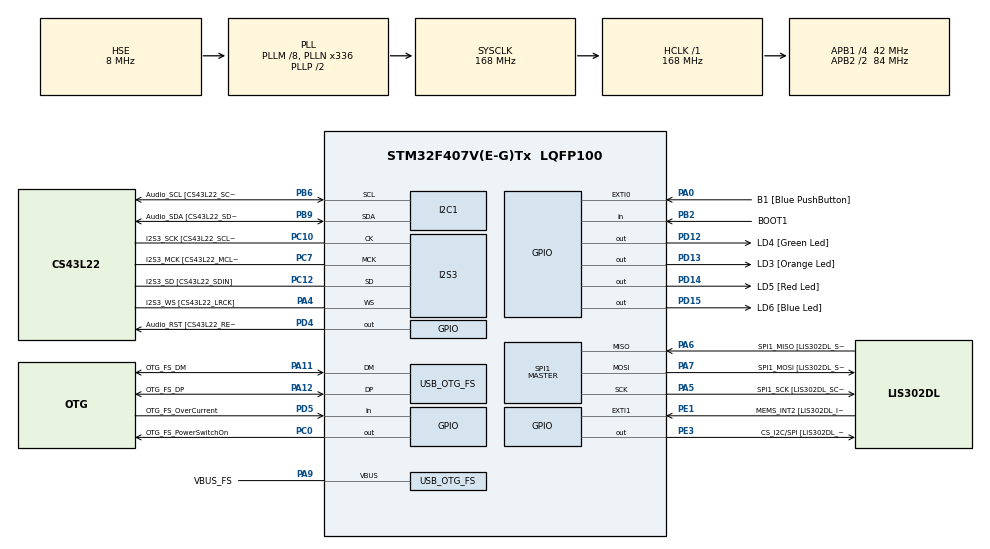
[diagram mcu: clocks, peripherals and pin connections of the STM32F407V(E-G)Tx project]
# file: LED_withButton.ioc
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I2S3.AudioFreq-Half_Duplex_Master=I2S_AUDIOFREQ_96K
I2S3.ErrorAudioFreq=-2.34 %
I2S3.ErrorAudioFreq-Half_Duplex_Master=0.8 %
I2S3.FullDuplexMode=I2S_FULLDUPLEXMODE_DISABLE
I2S3.Instance=SPI$Index
I2S3.RealAudioFreq=93.75 KHz
I2S3.RealAudioFreq-Half_Duplex_Master=96.774 KHz
I2S3.VirtualMode=I2S_MODE_MASTER
Mcu.Family=STM32F4
Mcu.Name=STM32F407V(E-G)Tx
Mcu.Package=LQFP100
NVIC.OTG_FS_IRQn=true\:0\:0\:false\:false\:true\:true\:true
NVIC.PriorityGroup=NVIC_PRIORITYGROUP_0
PA0-WKUP.GPIO_Label=B1 [Blue PushButton]
PA0-WKUP.GPIO_ModeDefaultEXTI=GPIO_MODE_EVT_RISING
PA0-WKUP.GPIO_PuPd=GPIO_NOPULL
PA0-WKUP.Signal=GPXTI0
PA10.GPIO_Label=OTG_FS_ID
PA10.GPIO_Mode=GPIO_MODE_AF_PP
PA10.GPIO_PuPd=GPIO_NOPULL
PA10.GPIO_Speed=GPIO_SPEED_FREQ_LOW
PA10.Signal=USB_OTG_FS_ID
PA11.GPIO_Label=OTG_FS_DM
PA11.GPIO_Mode=GPIO_MODE_AF_PP
PA11.GPIO_PuPd=GPIO_NOPULL
PA11.GPIO_Speed=GPIO_SPEED_FREQ_LOW
PA11.Mode=Host_Only
PA11.Signal=USB_OTG_FS_DM
PA12.GPIO_Label=OTG_FS_DP
PA12.GPIO_Mode=GPIO_MODE_AF_PP
PA12.GPIO_PuPd=GPIO_NOPULL
PA12.GPIO_Speed=GPIO_SPEED_FREQ_LOW
PA12.Mode=Host_Only
PA12.Signal=USB_OTG_FS_DP
PA13.GPIO_Label=SWDIO
PA13.Mode=Serial_Wire
PA13.Signal=SYS_JTMS-SWDIO
PA14.GPIO_Label=SWCLK
PA14.Mode=Serial_Wire
PA14.Signal=SYS_JTCK-SWCLK
PA4.GPIO_Label=I2S3_WS [CS43L22_LRCK]
PA4.GPIO_Mode=GPIO_MODE_AF_PP
PA4.GPIO_PuPd=GPIO_NOPULL
PA4.GPIO_Speed=GPIO_SPEED_FREQ_LOW
PA4.Mode=Half_Duplex_Master
PA4.Signal=I2S3_WS
PA5.GPIO_Label=SPI1_SCK [LIS302DL_SCL/SPC]
PA5.GPIO_Mode=GPIO_MODE_AF_PP
PA5.GPIO_PuPd=GPIO_NOPULL
PA5.GPIO_Speed=GPIO_SPEED_FREQ_LOW
PA5.Mode=Full_Duplex_Master
PA5.Signal=SPI1_SCK
PA6.GPIO_Label=SPI1_MISO [LIS302DL_SDO]
PA6.GPIO_Mode=GPIO_MODE_AF_PP
PA6.GPIO_PuPd=GPIO_NOPULL
PA6.GPIO_Speed=GPIO_SPEED_FREQ_LOW
PA6.Mode=Full_Duplex_Master
PA6.Signal=SPI1_MISO
PA7.GPIO_Label=SPI1_MOSI [LIS302DL_SDA/SDI/SDO]
PA7.GPIO_Mode=GPIO_MODE_AF_PP
PA7.GPIO_PuPd=GPIO_NOPULL
PA7.GPIO_Speed=GPIO_SPEED_FREQ_LOW
PA7.Mode=Full_Duplex_Master
PA7.Signal=SPI1_MOSI
PA9.GPIO_Label=VBUS_FS
PA9.GPIO_Mode=GPIO_MODE_INPUT
PA9.GPIO_PuPd=GPIO_NOPULL
PA9.Mode=Activate_VBUS
PA9.Signal=USB_OTG_FS_VBUS
PB10.GPIO_Label=CLK_IN [MP45DT02_CLK]
PB10.GPIO_Mode=GPIO_MODE_AF_PP
PB10.GPIO_PuPd=GPIO_NOPULL
PB10.GPIO_Speed=GPIO_SPEED_FREQ_LOW
PB10.Signal=I2S2_CK
PB2.GPIO_Label=BOOT1
PB2.GPIO_Mode=GPIO_MODE_INPUT
PB2.GPIO_PuPd=GPIO_NOPULL
PB2.Signal=GPIO_Input
PB3.GPIO_Label=SWO
PB3.Signal=SYS_JTDO-SWO
PB6.GPIO_Label=Audio_SCL [CS43L22_SCL]
PB6.GPIO_Mode=GPIO_MODE_AF_OD
PB6.GPIO_Pu=GPIO_PULLUP
PB6.GPIO_PuPd=GPIO_NOPULL
PB6.GPIO_Speed=GPIO_SPEED_FREQ_LOW
PB6.Mode=I2C
PB6.Signal=I2C1_SCL
PB9.GPIO_Label=Audio_SDA [CS43L22_SDA]
PB9.GPIO_Mode=GPIO_MODE_AF_OD
PB9.GPIO_Pu=GPIO_PULLUP
PB9.GPIO_PuPd=GPIO_NOPULL
PB9.GPIO_Speed=GPIO_SPEED_FREQ_LOW
PB9.Mode=I2C
PB9.Signal=I2C1_SDA
PC0.GPIO_Label=OTG_FS_PowerSwitchOn
PC0.GPIO_PuPd=GPIO_NOPULL
PC0.GPIO_Speed=GPIO_SPEED_FREQ_LOW
PC0.PinState=GPIO_PIN_SET
PC0.Signal=GPIO_Output
PC10.GPIO_Label=I2S3_SCK [CS43L22_SCLK]
PC10.GPIO_Mode=GPIO_MODE_AF_PP
PC10.GPIO_PuPd=GPIO_NOPULL
PC10.GPIO_Speed=GPIO_SPEED_FREQ_LOW
PC10.Mode=Half_Duplex_Master
PC10.Signal=I2S3_CK
PC12.GPIO_Label=I2S3_SD [CS43L22_SDIN]
PC12.GPIO_Mode=GPIO_MODE_AF_PP
PC12.GPIO_PuPd=GPIO_NOPULL
PC12.GPIO_Speed=GPIO_SPEED_FREQ_LOW
PC12.Mode=Half_Duplex_Master
PC12.Signal=I2S3_SD
PC14-OSC32_IN.GPIO_Label=PC14-OSC32_IN
PC14-OSC32_IN.Mode=LSE-External-Oscillator
PC14-OSC32_IN.Signal=RCC_OSC32_IN
PC15-OSC32_OUT.GPIO_Label=PC15-OSC32_OUT
PC15-OSC32_OUT.Mode=LSE-External-Oscillator
PC15-OSC32_OUT.Signal=RCC_OSC32_OUT
PC3.GPIO_Label=PDM_OUT [MP45DT02_DOUT]
PC3.GPIO_Mode=GPIO_MODE_AF_PP
PC3.GPIO_PuPd=GPIO_NOPULL
PC3.GPIO_Speed=GPIO_SPEED_FREQ_LOW
PC3.Signal=I2S2_SD
PC7.GPIO_Label=I2S3_MCK [CS43L22_MCLK]
PC7.GPIO_Mode=GPIO_MODE_AF_PP
PC7.GPIO_PuPd=GPIO_NOPULL
PC7.GPIO_Speed=GPIO_SPEED_FREQ_LOW
PC7.Mode=Master_Clock_Activated
PC7.Signal=I2S3_MCK
PD12.GPIO_Label=LD4 [Green Led]
PD12.GPIO_PuPd=GPIO_NOPULL
PD12.GPIO_Speed=GPIO_SPEED_FREQ_LOW
PD12.Signal=GPIO_Output
PD13.GPIO_Label=LD3 [Orange Led]
PD13.GPIO_PuPd=GPIO_NOPULL
PD13.GPIO_Speed=GPIO_SPEED_FREQ_LOW
PD13.Signal=GPIO_Output
PD14.GPIO_Label=LD5 [Red Led]
PD14.GPIO_PuPd=GPIO_NOPULL
PD14.GPIO_Speed=GPIO_SPEED_FREQ_LOW
PD14.Signal=GPIO_Output
PD15.GPIO_Label=LD6 [Blue Led]
PD15.GPIO_PuPd=GPIO_NOPULL
PD15.GPIO_Speed=GPIO_SPEED_FREQ_LOW
PD15.Signal=GPIO_Output
PD4.GPIO_Label=Audio_RST [CS43L22_RESET]
PD4.GPIO_PuPd=GPIO_NOPULL
PD4.GPIO_Speed=GPIO_SPEED_FREQ_LOW
PD4.Signal=GPIO_Output
PD5.GPIO_Label=OTG_FS_OverCurrent
PD5.GPIO_Mode=GPIO_MODE_INPUT
PD5.GPIO_PuPd=GPIO_NOPULL
PD5.Signal=GPIO_Input
PE1.GPIO_Label=MEMS_INT2 [LIS302DL_INT2]
PE1.GPIO_ModeDefaultEXTI=GPIO_MODE_EVT_RISING
PE1.GPIO_PuPd=GPIO_NOPULL
PE1.Signal=GPXTI1
PE3.GPIO_Label=CS_I2C/SPI [LIS302DL_CS_I2C/SPI]
PE3.GPIO_PuPd=GPIO_NOPULL
PE3.GPIO_Speed=GPIO_SPEED_FREQ_LOW
PE3.Signal=GPIO_Output
PH0-OSC_IN.GPIO_Label=PH0-OSC_IN
PH0-OSC_IN.Mode=HSE-External-Oscillator
PH0-OSC_IN.Signal=RCC_OSC_IN
PH1-OSC_OUT.GPIO_Label=PH1-OSC_OUT
PH1-OSC_OUT.Mode=HSE-External-Oscillator
PH1-OSC_OUT.Signal=RCC_OSC_OUT
ProjectManager.HeapSize=0x200
ProjectManager.StackSize=0x400
ProjectManager.TargetToolchain=SW4STM32
RCC.48MHZClocksFreq_Value=48000000
RCC.AHBFreq_Value=168000000
RCC.APB1CLKDivider=RCC_HCLK_DIV4
RCC.APB1Freq_Value=42000000
RCC.APB1TimFreq_Value=84000000
RCC.APB2CLKDivider=RCC_HCLK_DIV2
RCC.APB2Freq_Value=84000000
RCC.APB2TimFreq_Value=168000000
RCC.CortexFreq_Value=168000000
RCC.HCLKFreq_Value=168000000
RCC.HSE_VALUE=8000000
RCC.HSI_VALUE=16000000
RCC.PLLM=8
RCC.PLLN=336
RCC.PLLQ=7
RCC.SYSCLKFreq_VALUE=168000000
RCC.SYSCLKSource=RCC_SYSCLKSOURCE_PLLCLK
RCC.VCOOutputFreq_Value=336000000
SPI1.BaudRatePrescaler-Full_Duplex_Master=SPI_BAUDRATEPRESCALER_2
SPI1.CalculateBaudRate-Full_Duplex_Master=42.0 MBits/s
SPI1.Direction=SPI_DIRECTION_2LINES
SPI1.Mode=SPI_MODE_MASTER
SPI1.Mode-Full_Duplex_Master=SPI_MODE_MASTER
SPI1.VirtualType=VM_MASTER
USB_HOST.BSP.number=1
USB_HOST.USBH_HandleTypeDef-CDC_FS=hUsbHostFS
USB_HOST.VirtualModeFS=Cdc
USB_HOST0.BSP.STBoard=false
USB_HOST0.BSP.api=Unknown
USB_HOST0.BSP.i2caddr=0
USB_HOST0.BSP.i2creg=0
USB_HOST0.BSP.instance=PC0
USB_HOST0.BSP.ip=GPIO
USB_HOST0.BSP.mode=Output
USB_HOST0.BSP.name=Drive_VBUS_FS
USB_HOST0.BSP.solution=PC0
USB_OTG_FS.VirtualMode=Host_Only
USB_OTG_FS.phy_itface=HCD_PHY_EMBEDDED
VP_USB_HOST_VS_USB_HOST_CDC_FS.Mode=CDC_FS
board=STM32F407G-DISC1

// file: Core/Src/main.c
/* USER CODE BEGIN Header */
/**
  ******************************************************************************
  * @file           : main.c
  * @brief          : Main program body
  ******************************************************************************
  * @attention
  *
  * <h2><center>&copy; Copyright (c) 2021 STMicroelectronics.
  * All rights reserved.</center></h2>
  *
  * This software component is licensed by ST under Ultimate Liberty license
  * SLA0044, the "License"; You may not use this file except in compliance with
  * the License. You may obtain a copy of the License at:
  *                             www.st.com/SLA0044
  *
  ******************************************************************************
  */
/* USER CODE END Header */
#include "main.h"
#include "usb_host.h"

I2C_HandleTypeDef hi2c1;

I2S_HandleTypeDef hi2s3;

SPI_HandleTypeDef hspi1;

void SystemClock_Config(void);
static void MX_GPIO_Init(void);
static void MX_I2C1_Init(void);
static void MX_I2S3_Init(void);
static void MX_SPI1_Init(void);
void MX_USB_HOST_Process(void);

int main(void)
{

  /* MCU Configuration--------------------------------------------------------*/

  /* Reset of all peripherals, Initializes the Flash interface and the Systick. */
  HAL_Init();

  /* Configure the system clock */
  SystemClock_Config();

  /* Initialize all configured peripherals */
  MX_GPIO_Init();
  MX_I2C1_Init();
  MX_I2S3_Init();
  MX_SPI1_Init();
  MX_USB_HOST_Init();

  /* Infinite loop */
  /* USER CODE BEGIN WHILE */
  while (1)
  {
	  if(HAL_GPIO_ReadPin(GPIOA,GPIO_PIN_0)==1)
	  {
		  HAL_GPIO_WritePin(GPIOD,GPIO_PIN_12,1);
		  HAL_Delay(250);
		  HAL_GPIO_WritePin(GPIOD,GPIO_PIN_13,1);
		  HAL_Delay(250);
		  HAL_GPIO_WritePin(GPIOD,GPIO_PIN_14,1);
		  HAL_Delay(250);
		  HAL_GPIO_WritePin(GPIOD,GPIO_PIN_15,1);
		  HAL_Delay(250);
	  }
	  else
	  {
		  HAL_GPIO_WritePin(GPIOD,GPIO_PIN_12,0);
		  HAL_Delay(250);
		  HAL_GPIO_WritePin(GPIOD,GPIO_PIN_13,0);
		  HAL_Delay(250);
		  HAL_GPIO_WritePin(GPIOD,GPIO_PIN_14,0);
		  HAL_Delay(250);
		  HAL_GPIO_WritePin(GPIOD,GPIO_PIN_15,0);
		  HAL_Delay(250);
	  }
    /* USER CODE END WHILE */
    MX_USB_HOST_Process();

  }
}

void SystemClock_Config(void)
{
  RCC_OscInitTypeDef RCC_OscInitStruct = {0};
  RCC_ClkInitTypeDef RCC_ClkInitStruct = {0};

  /** Configure the main internal regulator output voltage
  */
  __HAL_RCC_PWR_CLK_ENABLE();
  __HAL_PWR_VOLTAGESCALING_CONFIG(PWR_REGULATOR_VOLTAGE_SCALE1);
  /** Initializes the RCC Oscillators according to the specified parameters
  * in the RCC_OscInitTypeDef structure.
  */
  RCC_OscInitStruct.OscillatorType = RCC_OSCILLATORTYPE_HSE;
  RCC_OscInitStruct.HSEState = RCC_HSE_ON;
  RCC_OscInitStruct.PLL.PLLState = RCC_PLL_ON;
  RCC_OscInitStruct.PLL.PLLSource = RCC_PLLSOURCE_HSE;
  RCC_OscInitStruct.PLL.PLLM = 8;
  RCC_OscInitStruct.PLL.PLLN = 336;
  RCC_OscInitStruct.PLL.PLLP = RCC_PLLP_DIV2;
  RCC_OscInitStruct.PLL.PLLQ = 7;
  if (HAL_RCC_OscConfig(&RCC_OscInitStruct) != HAL_OK)
  {
    Error_Handler();
  }
  /** Initializes the CPU, AHB and APB buses clocks
  */
  RCC_ClkInitStruct.ClockType = RCC_CLOCKTYPE_HCLK|RCC_CLOCKTYPE_SYSCLK
                              |RCC_CLOCKTYPE_PCLK1|RCC_CLOCKTYPE_PCLK2;
  RCC_ClkInitStruct.SYSCLKSource = RCC_SYSCLKSOURCE_PLLCLK;
  RCC_ClkInitStruct.AHBCLKDivider = RCC_SYSCLK_DIV1;
  RCC_ClkInitStruct.APB1CLKDivider = RCC_HCLK_DIV4;
  RCC_ClkInitStruct.APB2CLKDivider = RCC_HCLK_DIV2;

  if (HAL_RCC_ClockConfig(&RCC_ClkInitStruct, FLASH_LATENCY_5) != HAL_OK)
  {
    Error_Handler();
  }
}

static void MX_I2C1_Init(void)
{

  hi2c1.Instance = I2C1;
  hi2c1.Init.ClockSpeed = 100000;
  hi2c1.Init.DutyCycle = I2C_DUTYCYCLE_2;
  hi2c1.Init.OwnAddress1 = 0;
  hi2c1.Init.AddressingMode = I2C_ADDRESSINGMODE_7BIT;
  hi2c1.Init.DualAddressMode = I2C_DUALADDRESS_DISABLE;
  hi2c1.Init.OwnAddress2 = 0;
  hi2c1.Init.GeneralCallMode = I2C_GENERALCALL_DISABLE;
  hi2c1.Init.NoStretchMode = I2C_NOSTRETCH_DISABLE;
  if (HAL_I2C_Init(&hi2c1) != HAL_OK)
  {
    Error_Handler();
  }

}

static void MX_I2S3_Init(void)
{

  hi2s3.Instance = SPI3;
  hi2s3.Init.Mode = I2S_MODE_MASTER_TX;
  hi2s3.Init.Standard = I2S_STANDARD_PHILIPS;
  hi2s3.Init.DataFormat = I2S_DATAFORMAT_16B;
  hi2s3.Init.MCLKOutput = I2S_MCLKOUTPUT_ENABLE;
  hi2s3.Init.AudioFreq = I2S_AUDIOFREQ_96K;
  hi2s3.Init.CPOL = I2S_CPOL_LOW;
  hi2s3.Init.ClockSource = I2S_CLOCK_PLL;
  hi2s3.Init.FullDuplexMode = I2S_FULLDUPLEXMODE_DISABLE;
  if (HAL_I2S_Init(&hi2s3) != HAL_OK)
  {
    Error_Handler();
  }

}

static void MX_SPI1_Init(void)
{

  /* SPI1 parameter configuration*/
  hspi1.Instance = SPI1;
  hspi1.Init.Mode = SPI_MODE_MASTER;
  hspi1.Init.Direction = SPI_DIRECTION_2LINES;
  hspi1.Init.DataSize = SPI_DATASIZE_8BIT;
  hspi1.Init.CLKPolarity = SPI_POLARITY_LOW;
  hspi1.Init.CLKPhase = SPI_PHASE_1EDGE;
  hspi1.Init.NSS = SPI_NSS_SOFT;
  hspi1.Init.BaudRatePrescaler = SPI_BAUDRATEPRESCALER_2;
  hspi1.Init.FirstBit = SPI_FIRSTBIT_MSB;
  hspi1.Init.TIMode = SPI_TIMODE_DISABLE;
  hspi1.Init.CRCCalculation = SPI_CRCCALCULATION_DISABLE;
  hspi1.Init.CRCPolynomial = 10;
  if (HAL_SPI_Init(&hspi1) != HAL_OK)
  {
    Error_Handler();
  }

}

static void MX_GPIO_Init(void)
{
  GPIO_InitTypeDef GPIO_InitStruct = {0};

  /* GPIO Ports Clock Enable */
  __HAL_RCC_GPIOE_CLK_ENABLE();
  __HAL_RCC_GPIOC_CLK_ENABLE();
  __HAL_RCC_GPIOH_CLK_ENABLE();
  __HAL_RCC_GPIOA_CLK_ENABLE();
  __HAL_RCC_GPIOB_CLK_ENABLE();
  __HAL_RCC_GPIOD_CLK_ENABLE();

  /*Configure GPIO pin Output Level */
  HAL_GPIO_WritePin(CS_I2C_SPI_GPIO_Port, CS_I2C_SPI_Pin, GPIO_PIN_RESET);

  /*Configure GPIO pin Output Level */
  HAL_GPIO_WritePin(OTG_FS_PowerSwitchOn_GPIO_Port, OTG_FS_PowerSwitchOn_Pin, GPIO_PIN_SET);

  /*Configure GPIO pin Output Level */
  HAL_GPIO_WritePin(GPIOD, LD4_Pin|LD3_Pin|LD5_Pin|LD6_Pin
                          |Audio_RST_Pin, GPIO_PIN_RESET);

  /*Configure GPIO pin : CS_I2C_SPI_Pin */
  GPIO_InitStruct.Pin = CS_I2C_SPI_Pin;
  GPIO_InitStruct.Mode = GPIO_MODE_OUTPUT_PP;
  GPIO_InitStruct.Pull = GPIO_NOPULL;
  GPIO_InitStruct.Speed = GPIO_SPEED_FREQ_LOW;
  HAL_GPIO_Init(CS_I2C_SPI_GPIO_Port, &GPIO_InitStruct);

  /*Configure GPIO pin : OTG_FS_PowerSwitchOn_Pin */
  GPIO_InitStruct.Pin = OTG_FS_PowerSwitchOn_Pin;
  GPIO_InitStruct.Mode = GPIO_MODE_OUTPUT_PP;
  GPIO_InitStruct.Pull = GPIO_NOPULL;
  GPIO_InitStruct.Speed = GPIO_SPEED_FREQ_LOW;
  HAL_GPIO_Init(OTG_FS_PowerSwitchOn_GPIO_Port, &GPIO_InitStruct);

  /*Configure GPIO pin : PDM_OUT_Pin */
  GPIO_InitStruct.Pin = PDM_OUT_Pin;
  GPIO_InitStruct.Mode = GPIO_MODE_AF_PP;
  GPIO_InitStruct.Pull = GPIO_NOPULL;
  GPIO_InitStruct.Speed = GPIO_SPEED_FREQ_LOW;
  GPIO_InitStruct.Alternate = GPIO_AF5_SPI2;
  HAL_GPIO_Init(PDM_OUT_GPIO_Port, &GPIO_InitStruct);

  /*Configure GPIO pin : B1_Pin */
  GPIO_InitStruct.Pin = B1_Pin;
  GPIO_InitStruct.Mode = GPIO_MODE_EVT_RISING;
  GPIO_InitStruct.Pull = GPIO_NOPULL;
  HAL_GPIO_Init(B1_GPIO_Port, &GPIO_InitStruct);

  /*Configure GPIO pin : BOOT1_Pin */
  GPIO_InitStruct.Pin = BOOT1_Pin;
  GPIO_InitStruct.Mode = GPIO_MODE_INPUT;
  GPIO_InitStruct.Pull = GPIO_NOPULL;
  HAL_GPIO_Init(BOOT1_GPIO_Port, &GPIO_InitStruct);

  /*Configure GPIO pin : CLK_IN_Pin */
  GPIO_InitStruct.Pin = CLK_IN_Pin;
  GPIO_InitStruct.Mode = GPIO_MODE_AF_PP;
  GPIO_InitStruct.Pull = GPIO_NOPULL;
  GPIO_InitStruct.Speed = GPIO_SPEED_FREQ_LOW;
  GPIO_InitStruct.Alternate = GPIO_AF5_SPI2;
  HAL_GPIO_Init(CLK_IN_GPIO_Port, &GPIO_InitStruct);

  /*Configure GPIO pins : LD4_Pin LD3_Pin LD5_Pin LD6_Pin
                           Audio_RST_Pin */
  GPIO_InitStruct.Pin = LD4_Pin|LD3_Pin|LD5_Pin|LD6_Pin
                          |Audio_RST_Pin;
  GPIO_InitStruct.Mode = GPIO_MODE_OUTPUT_PP;
  GPIO_InitStruct.Pull = GPIO_NOPULL;
  GPIO_InitStruct.Speed = GPIO_SPEED_FREQ_LOW;
  HAL_GPIO_Init(GPIOD, &GPIO_InitStruct);

  /*Configure GPIO pin : OTG_FS_OverCurrent_Pin */
  GPIO_InitStruct.Pin = OTG_FS_OverCurrent_Pin;
  GPIO_InitStruct.Mode = GPIO_MODE_INPUT;
  GPIO_InitStruct.Pull = GPIO_NOPULL;
  HAL_GPIO_Init(OTG_FS_OverCurrent_GPIO_Port, &GPIO_InitStruct);

  /*Configure GPIO pin : MEMS_INT2_Pin */
  GPIO_InitStruct.Pin = MEMS_INT2_Pin;
  GPIO_InitStruct.Mode = GPIO_MODE_EVT_RISING;
  GPIO_InitStruct.Pull = GPIO_NOPULL;
  HAL_GPIO_Init(MEMS_INT2_GPIO_Port, &GPIO_InitStruct);

}

void Error_Handler(void)
{
  __disable_irq();
  while (1)
  {
  }
}

/************************ (C) COPYRIGHT STMicroelectronics *****END OF FILE****/
